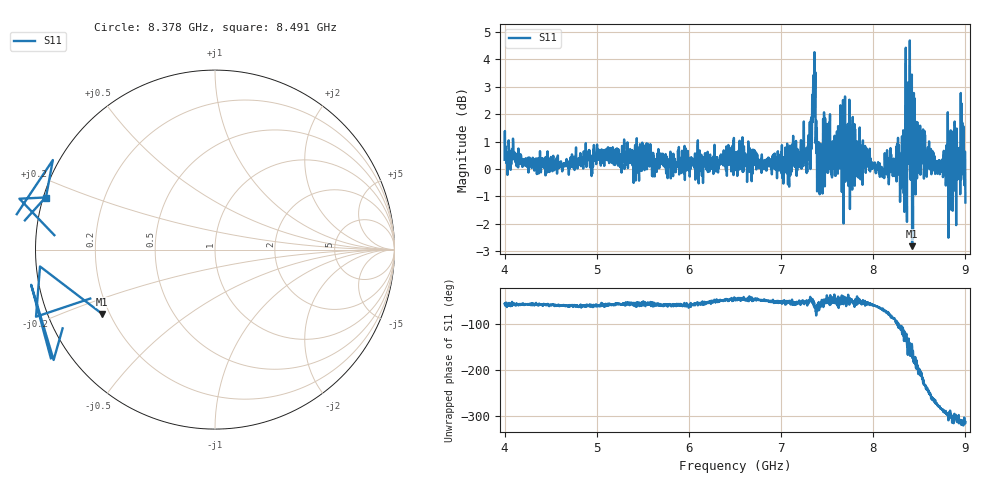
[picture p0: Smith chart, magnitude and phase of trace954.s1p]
! Created with skrf 1.8.0 (http://scikit-rf.org).
# Hz S RI R 50.0
!freq ReS11 ImS11
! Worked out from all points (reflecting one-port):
!   1601 points, 4 GHz to 9 GHz, reference 50 ohm
!   lowest |S11| = -2.8 dB at 8.422 GHz (marker M1), VSWR 6.23, Z = 8.57 - j12.9 ohm
!   phase of S11 starts at -56 deg and turns -258 deg over the sweep
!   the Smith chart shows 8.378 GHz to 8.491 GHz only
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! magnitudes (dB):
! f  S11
! 4 GHz  0.3
! 4.625 GHz  -0.1
! 5.25 GHz  0.2
! 5.875 GHz  0.1
! 6.5 GHz  0.4
! 7.125 GHz  0.9
! 7.294 GHz  0.8
! 7.347 GHz  2.8
! 7.362 GHz  4.3
! 7.4 GHz  -0.1
! 7.416 GHz  -0.5
! 7.481 GHz  0.1
! 7.569 GHz  0.2
! 7.669 GHz  1.9
! 7.75 GHz  0.1
! 8.316 GHz  -0.4
! 8.334 GHz  1.2
! 8.341 GHz  -0.2
! 8.375 GHz  1.6
! 8.422 GHz  -2.8
! 8.447 GHz  2.6
! 8.459 GHz  -0.9
! 8.484 GHz  0.8
! 8.522 GHz  1.2
! 8.634 GHz  0.4
! 8.838 GHz  0.8
! 8.972 GHz  1.0
! 9 GHz  -1.2
